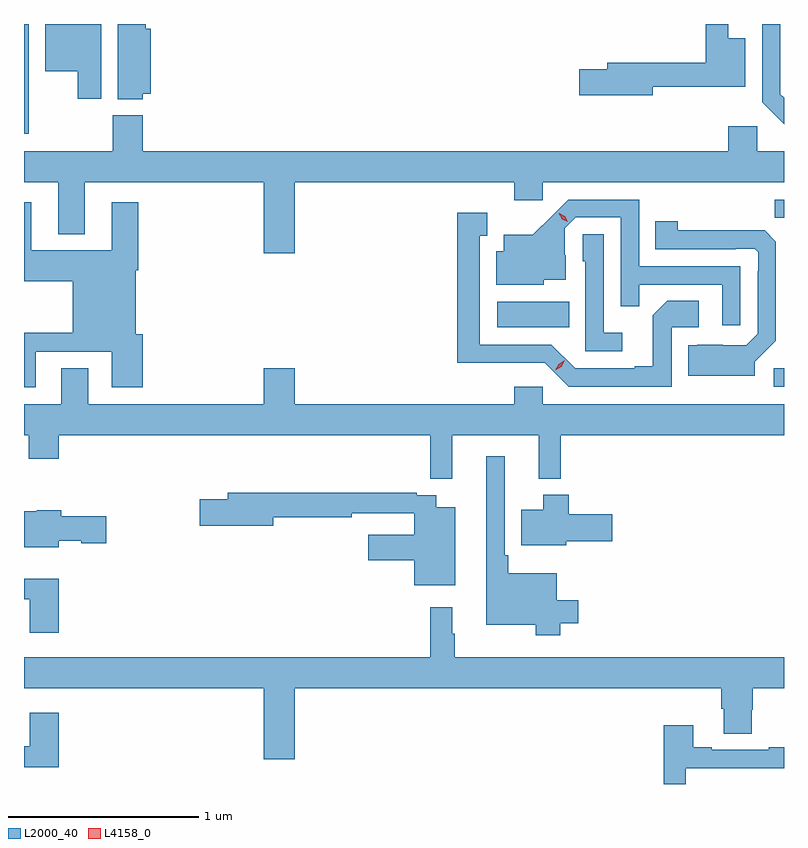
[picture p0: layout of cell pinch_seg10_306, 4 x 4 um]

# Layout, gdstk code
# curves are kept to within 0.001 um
import gdstk
lib = gdstk.Library(unit=1e-6, precision=1e-09)
def R(c, l, rs):  # rectangles x0, y0, x1, y1
    for r in rs: c.add(gdstk.rectangle(r[:2], r[2:], *l))
def P(c, l, *ps):  # polygons
    for p in ps: c.add(gdstk.Polygon(p, *l))
L2000_40 = (2000, 40)
L4158_0 = (4158, 0)

pinch_seg10_306 = lib.new_cell('pinch_seg10_306')
R(pinch_seg10_306, L2000_40, [(419.439,1280.592,419.494,1280.688), (417.984,1280.906,418.364,1281.04), (419.446,1281.481,419.494,1281.576), (415.494,1281.923,415.519,1282.501)])
P(pinch_seg10_306, L2000_40, [(419.494,1282.112),(419.475,1282.131),(419.475,1282.501),(419.379,1282.501),(419.379,1282.089),(419.494,1281.974)],
  [(416.118,1282.133),(416.161,1282.133),(416.161,1282.477),(416.135,1282.477),(416.135,1282.501),(415.988,1282.501),(415.988,1282.106),(416.118,1282.106)],
  [(415.9,1282.501),(415.607,1282.501),(415.607,1282.253),(415.778,1282.253),(415.778,1282.107),(415.9,1282.107)],
  [(418.804,1282.17),(419.29,1282.17),(419.29,1282.426),(419.201,1282.426),(419.201,1282.501),(419.083,1282.501),(419.083,1282.298),(418.565,1282.298),(418.565,1282.262),(418.416,1282.262),(418.416,1282.127),(418.804,1282.127)],
  [(416.92,1281.668),(418.073,1281.668),(418.073,1281.573),(418.224,1281.573),(418.224,1281.668),(419.494,1281.668),(419.494,1281.832),(419.352,1281.832),(419.352,1281.964),(419.201,1281.964),(419.201,1281.832),(416.12,1281.832),(416.12,1282.021),(415.96,1282.021),(415.96,1281.832),(415.494,1281.832),(415.494,1281.668),(415.673,1281.668),(415.673,1281.395),(415.813,1281.395),(415.813,1281.668),(416.756,1281.668),(416.756,1281.294),(416.92,1281.294)],
  [(419.265,1281.225),(418.731,1281.225),(418.731,1281.576),(418.358,1281.576),(418.171,1281.391),(418.019,1281.391),(418.019,1281.304),(417.98,1281.304),(417.98,1281.128),(418.23,1281.128),(418.23,1281.155),(418.345,1281.155),(418.345,1281.284),(418.341,1281.284),(418.341,1281.426),(418.398,1281.483),(418.635,1281.483),(418.635,1281.016),(418.733,1281.016),(418.733,1281.129),(419.169,1281.129),(419.169,1280.916),(419.265,1280.916)],
  [(415.555,1280.775),(415.955,1280.775),(415.955,1280.589),(416.12,1280.589),(416.12,1280.868),(416.083,1280.868),(416.083,1281.206),(416.096,1281.206),(416.096,1281.562),(415.955,1281.562),(415.955,1281.31),(415.531,1281.31),(415.531,1281.562),(415.494,1281.562),(415.494,1281.146),(415.751,1281.146),(415.751,1280.876),(415.494,1280.876),(415.494,1280.589),(415.555,1280.589)],
  [(418.902,1280.904),(419.044,1280.904),(419.044,1281.044),(418.879,1281.044),(418.803,1280.968),(418.803,1280.701),(418.709,1280.701),(418.709,1280.688),(418.395,1280.688),(418.269,1280.814),(417.892,1280.814),(417.892,1281.387),(417.931,1281.387),(417.931,1281.508),(417.774,1281.508),(417.774,1280.717),(418.236,1280.718),(418.362,1280.592),(418.902,1280.592)],
  [(419.341,1280.724),(419.451,1280.834),(419.451,1281.356),(419.392,1281.415),(418.935,1281.416),(418.935,1281.463),(418.816,1281.463),(418.816,1281.315),(419.24,1281.315),(419.24,1281.318),(419.34,1281.318),(419.358,1281.3),(419.358,1281.2),(419.355,1281.2),(419.355,1280.871),(419.295,1280.811),(419.038,1280.812),(419.035,1280.809),(418.991,1280.809),(418.991,1280.651),(419.341,1280.651)],
  [(418.642,1280.875),(418.545,1280.875),(418.545,1281.395),(418.434,1281.395),(418.434,1281.252),(418.449,1281.252),(418.449,1280.778),(418.642,1280.778)],
  [(417.749,1280.336),(418.202,1280.336),(418.202,1280.108),(418.319,1280.108),(418.319,1280.336),(419.494,1280.336),(419.494,1280.5),(418.224,1280.5),(418.224,1280.593),(418.073,1280.593),(418.073,1280.5),(416.92,1280.5),(416.92,1280.689),(416.756,1280.689),(416.756,1280.5),(415.831,1280.5),(415.831,1280.69),(415.691,1280.69),(415.691,1280.5),(415.494,1280.5),(415.494,1280.336),(415.519,1280.336),(415.519,1280.212),(415.676,1280.212),(415.676,1280.336),(417.631,1280.336),(417.631,1280.107),(417.749,1280.107)],
  [(418.316,1279.346),(418.411,1279.346),(418.411,1279.468),(418.297,1279.468),(418.297,1279.609),(418.043,1279.609),(418.043,1279.705),(418.023,1279.705),(418.023,1280.227),(417.926,1280.227),(417.926,1279.34),(418.188,1279.34),(418.188,1279.283),(418.316,1279.283)],
  [(417.763,1279.957),(417.664,1279.957),(417.664,1280.022),(417.56,1280.022),(417.56,1280.035),(416.567,1280.035),(416.567,1280.001),(416.418,1280.001),(416.418,1279.859),(416.806,1279.859),(416.806,1279.906),(417.218,1279.906),(417.218,1279.926),(417.548,1279.926),(417.548,1279.813),(417.306,1279.813),(417.306,1279.679),(417.548,1279.679),(417.548,1279.547),(417.763,1279.547)],
  [(418.348,1279.778),(418.591,1279.778),(418.591,1279.92),(418.361,1279.92),(418.361,1280.023),(418.226,1280.023),(418.226,1279.945),(418.112,1279.945),(418.112,1279.757),(418.348,1279.757)],
  [(415.678,1279.781),(415.794,1279.781),(415.794,1279.769),(415.927,1279.769),(415.927,1279.911),(415.691,1279.911),(415.691,1279.942),(415.56,1279.942),(415.56,1279.936),(415.494,1279.936),(415.494,1279.748),(415.678,1279.748)],
  [(415.676,1279.582),(415.494,1279.582),(415.494,1279.473),(415.523,1279.473),(415.523,1279.296),(415.676,1279.296)],
  [(416.92,1279.004),(419.165,1279.004),(419.165,1278.898),(419.177,1278.898),(419.177,1278.766),(419.325,1278.766),(419.325,1278.891),(419.33,1278.891),(419.33,1279.004),(419.494,1279.004),(419.494,1279.168),(417.76,1279.168),(417.76,1279.292),(417.748,1279.292),(417.748,1279.432),(417.631,1279.432),(417.631,1279.168),(415.494,1279.168),(415.494,1279.004),(416.756,1279.004),(416.756,1278.63),(416.92,1278.63)],
  [(415.676,1278.877),(415.523,1278.877),(415.523,1278.7),(415.494,1278.7),(415.494,1278.59),(415.676,1278.59)],
  [(418.977,1278.585),(419.494,1278.585),(419.494,1278.694),(419.413,1278.694),(419.413,1278.681),(419.113,1278.681),(419.113,1278.694),(419.017,1278.694),(419.017,1278.811),(418.861,1278.811),(418.861,1278.501),(418.977,1278.501)])
P(pinch_seg10_306, L4158_0, [(418.357,1281.459),(418.326,1281.474),(418.309,1281.504),(418.309,1281.504),(418.31,1281.504),(418.34,1281.489),(418.357,1281.459),(418.357,1281.459)],
  [(418.29,1280.678),(418.29,1280.679),(418.308,1280.711),(418.339,1280.73),(418.34,1280.73),(418.34,1280.73),(418.322,1280.697),(418.291,1280.678)])

lib.write_gds('pinch_seg10_306.gds')
